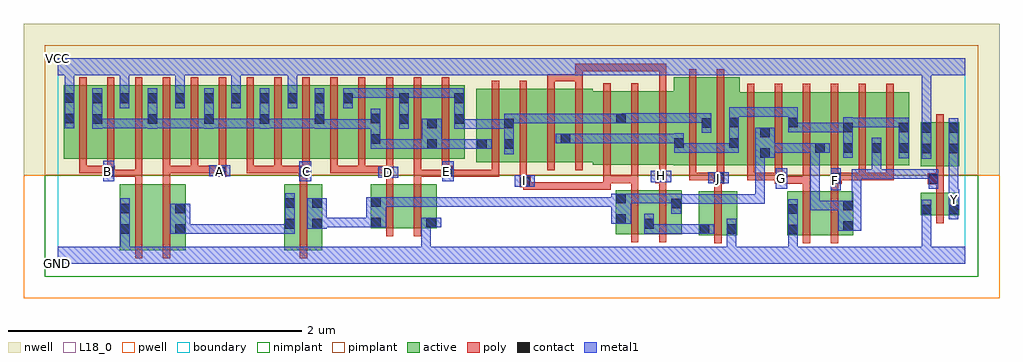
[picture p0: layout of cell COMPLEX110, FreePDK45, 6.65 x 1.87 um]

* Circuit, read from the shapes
.subckt COMPLEX110 A B C D E F G GND H I J VCC Y
M1 n1 B GND VSUBS nfet w=0.45u l=0.05u
M2 n2 A n1 VSUBS nfet w=0.45u l=0.05u
M3 n3 C n2 VSUBS nfet w=0.45u l=0.05u
M4 n4 D n3 VSUBS nfet w=0.3u l=0.05u
M5 GND E n4 VSUBS nfet w=0.3u l=0.05u
M6 n5 I n3 VSUBS nfet w=0.3u l=0.05u
M7 n3 H n5 VSUBS nfet w=0.3u l=0.05u
M8 GND J n5 VSUBS nfet w=0.3u l=0.05u
M9 n6 G GND VSUBS nfet w=0.3u l=0.05u
M10 n3 F n6 VSUBS nfet w=0.3u l=0.05u
M11 Y n3 GND VSUBS nfet w=0.15u l=0.05u
M12 n7 B VCC n8 pfet w=0.5u l=0.05u m=3
M13 VCC A n7 n8 pfet w=0.5u l=0.05u m=3
M14 n7 C VCC n8 pfet w=0.5u l=0.05u m=3
M15 n9 D n7 n8 pfet w=0.5u l=0.05u m=3
M16 n7 E n9 n8 pfet w=0.5u l=0.05u m=3
M17 n10 I n9 n8 pfet w=0.5u l=0.05u
M18 n11 H n10 n8 pfet w=0.5u l=0.05u
M19 n12 H n11 n8 pfet w=0.5u l=0.05u
M20 n9 I n12 n8 pfet w=0.5u l=0.05u
M21 n13 I n9 n8 pfet w=0.5u l=0.05u
M22 n11 H n13 n8 pfet w=0.5u l=0.05u
M23 n9 J n11 n8 pfet w=0.6u l=0.05u m=2
M24 n3 G n11 n8 pfet w=0.5u l=0.05u m=3
M25 n11 F n3 n8 pfet w=0.5u l=0.05u m=3
M26 Y n3 VCC n8 pfet w=0.3u l=0.05u
.ends

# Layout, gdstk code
import gdstk
lib = gdstk.Library(unit=1e-6, precision=1e-09)
def R(c, l, rs):  # rectangles x0, y0, x1, y1
    for r in rs: c.add(gdstk.rectangle(r[:2], r[2:], *l))
def A(c, l, x, y, w, h, nx, ny, dx, dy):  # array of equal rectangles
    R(c, l, [(x+i*dx, y+j*dy, x+i*dx+w, y+j*dy+h) for i in range(nx) for j in range(ny)])
active = (1, 0)
pwell = (2, 0)
nwell = (3, 0)
nimplant = (4, 0)
pimplant = (5, 0)
poly = (9, 0)
contact = (10, 0)
metal1 = (11, 0)
L18_0 = (18, 0)
boundary = (235, 0)

complex110 = lib.new_cell('COMPLEX110')
A(complex110, active, 0.415, 0.717, 0.075, 0.5, 3, 1, 0.38, 0)
R(complex110, active, [(0.42,0.092,0.645,0.542), (0.645,0.092,0.87,0.542), (1.542,0.092,1.802,0.542), (0.42,0.097,0.495,0.542), (0.795,0.097,0.87,0.542), (1.542,0.097,1.617,0.542), (1.727,0.097,1.802,0.542), (4.367,0.195,4.627,0.495), (4.552,0.195,4.627,0.495), (4.97,0.195,5.195,0.495), (4.97,0.195,5.045,0.495), (5.195,0.195,5.42,0.495), (3.8,0.2,3.875,0.5), (3.8,0.2,4.065,0.5), (3.99,0.2,4.25,0.5), (3.99,0.2,4.065,0.392), (4.367,0.2,4.442,0.495), (5.345,0.2,5.42,0.495), (2.13,0.242,2.355,0.542), (2.13,0.242,2.205,0.542), (2.355,0.242,2.58,0.542), (2.505,0.242,2.58,0.542), (4.175,0.247,4.25,0.5), (5.88,0.332,5.955,0.482), (5.88,0.332,6.14,0.482), (6.065,0.332,6.14,0.482), (5.88,0.665,5.955,0.965), (5.88,0.665,6.14,0.965), (6.065,0.665,6.14,0.962), (4.195,0.67,4.455,1.27), (4.38,0.67,4.645,1.27), (4.57,0.67,4.855,1.17), (4.57,0.67,4.645,1.2), (4.78,0.67,4.855,1.07), (4.78,0.67,5.045,1.17), (4.97,0.67,5.045,1.157), (4.97,0.67,5.23,1.17), (5.155,0.67,5.23,1.07), (5.155,0.67,5.42,1.17), (5.345,0.67,5.42,1.157), (5.345,0.67,5.615,1.17), (5.54,0.67,5.8,1.17), (5.54,0.67,5.615,1.07), (5.725,0.67,5.8,1.157), (3.645,0.675,3.875,1.175), (3.8,0.675,4.025,1.175), (3.8,0.675,3.875,1.175), (4.025,0.675,4.27,1.175), (4.195,0.675,4.27,1.07), (2.85,0.692,3.11,1.192), (2.85,0.692,2.925,1.07), (3.035,0.692,3.265,1.192), (3.035,0.692,3.11,1.165), (3.265,0.692,3.495,1.192), (3.42,0.692,3.645,1.192), (3.42,0.692,3.495,1.07), (4.38,0.707,4.455,1.2), (0.04,0.717,0.305,1.217), (0.04,0.717,0.115,1.217), (0.23,0.717,0.49,1.217), (0.23,0.717,0.305,1.2), (0.415,0.717,0.68,1.217), (0.605,0.717,0.87,1.217), (0.605,0.717,0.68,1.2), (0.795,0.717,1.065,1.217), (0.99,0.717,1.25,1.217), (0.99,0.717,1.065,1.2), (1.175,0.717,1.445,1.217), (1.37,0.717,1.635,1.217), (1.37,0.717,1.445,1.2), (1.56,0.717,1.82,1.217), (1.745,0.717,2.015,1.217), (1.745,0.717,1.82,1.2), (1.94,0.717,2.2,1.217), (1.94,0.717,2.015,1.2), (2.125,0.717,2.395,1.217), (2.125,0.717,2.2,1.07), (2.32,0.717,2.585,1.217), (2.32,0.717,2.395,1.2), (2.51,0.717,2.77,1.217), (2.51,0.717,2.585,1.07), (2.695,0.717,2.77,1.2), (1.56,0.807,1.635,1.217)])
R(complex110, pwell, [(-0.235,-0.235,6.415,0.602)])
R(complex110, nwell, [(-0.235,0.602,6.415,1.635)])
R(complex110, nimplant, [(-0.09,-0.09,6.27,0.602)])
R(complex110, pimplant, [(-0.09,0.602,6.27,1.49)])
A(complex110, poly, 3.715, 0.505, 0.05, 0.095, 3, 1, 0.19, 0)
A(complex110, poly, 5.265, 0.57, 0.05, 0.095, 3, 1, 0.19, 0)
A(complex110, poly, 4.695, 0.615, 0.05, 0.61, 6, 1, 0.19, 0)
A(complex110, poly, 0.715, 0.617, 0.05, 0.095, 9, 1, 0.19, 0)
A(complex110, poly, 0.715, 0.617, 0.24, 0.05, 3, 1, 0.57, 0)
A(complex110, poly, 3.715, 0.62, 0.05, 0.61, 3, 1, 0.19, 0)
A(complex110, poly, 2.955, 0.637, 0.05, 0.61, 4, 1, 0.19, 0)
A(complex110, poly, 0.145, 0.662, 0.05, 0.61, 14, 1, 0.19, 0)
R(complex110, poly, [(0.525,0.037,0.575,0.597), (0.715,0.037,0.765,0.597), (1.647,0.037,1.697,0.597), (4.472,0.14,4.522,0.55), (5.075,0.14,5.125,0.55), (5.265,0.14,5.315,0.55), (3.905,0.145,3.955,0.555), (4.095,0.145,4.145,0.555), (2.235,0.187,2.285,0.597), (2.425,0.187,2.475,0.597), (5.985,0.277,6.035,0.537), (5.985,0.487,6.035,0.59), (4.472,0.5,4.522,0.595), (5.075,0.5,5.125,0.595), (5.265,0.5,5.315,0.595), (3.17,0.505,3.442,0.555), (3.17,0.505,3.22,0.57), (3.392,0.505,3.442,0.555), (3.392,0.505,3.442,0.555), (3.392,0.505,3.442,0.555), (3.392,0.505,3.575,0.555), (3.525,0.505,3.575,0.555), (3.525,0.505,3.765,0.555), (3.145,0.52,3.22,0.595), (3.17,0.52,3.22,0.57), (5.927,0.54,6.035,0.615), (3.145,0.545,3.195,0.687), (4.465,0.545,4.54,0.62), (4.885,0.545,4.96,0.62), (4.91,0.545,5.125,0.595), (5.075,0.545,5.125,0.595), (5.075,0.545,5.125,0.595), (5.075,0.545,5.125,0.595), (5.075,0.545,5.125,0.665), (5.265,0.545,5.34,0.62), (0.525,0.547,0.575,0.642), (0.715,0.547,0.765,0.667), (1.647,0.547,1.697,0.642), (2.235,0.547,2.285,0.642), (2.425,0.547,2.475,0.642), (3.715,0.55,3.765,0.6), (3.715,0.55,3.765,0.6), (3.715,0.55,3.955,0.6), (3.715,0.55,3.765,0.67), (3.905,0.55,3.955,0.6), (3.905,0.55,3.955,0.6), (3.905,0.55,3.955,0.6), (3.905,0.55,3.955,0.67), (4.07,0.55,4.145,0.625), (5.985,0.565,6.035,0.66), (4.3,0.57,4.35,0.665), (4.3,0.57,4.35,0.62), (4.3,0.57,4.35,0.62), (4.3,0.57,4.35,0.62), (4.3,0.57,4.515,0.62), (4.49,0.57,4.54,0.665), (4.695,0.57,4.745,0.665), (4.695,0.57,4.745,0.62), (4.695,0.57,4.745,0.62), (4.695,0.57,4.745,0.62), (4.695,0.57,4.935,0.62), (4.885,0.57,4.935,0.665), (5.29,0.57,5.34,0.62), (5.29,0.57,5.34,0.62), (5.29,0.57,5.505,0.62), (5.455,0.57,5.505,0.62), (5.455,0.57,5.695,0.62), (5.645,0.57,5.695,0.62), (5.645,0.57,5.695,0.62), (5.645,0.57,5.695,0.62), (4.095,0.575,4.145,0.67), (0.312,0.592,0.387,0.667), (0.337,0.592,0.575,0.642), (0.525,0.592,0.575,0.642), (0.525,0.592,0.575,0.642), (0.525,0.592,0.575,0.642), (0.525,0.592,0.575,0.712), (1.07,0.592,1.145,0.667), (1.64,0.592,1.715,0.667), (2.212,0.592,2.287,0.667), (2.425,0.592,2.475,0.642), (2.425,0.592,2.475,0.642), (2.425,0.592,2.475,0.642), (2.425,0.592,2.665,0.642), (2.425,0.592,2.475,0.712), (2.615,0.592,2.69,0.667), (2.64,0.592,2.69,0.642), (2.64,0.592,2.69,0.642), (2.64,0.592,3.005,0.642), (2.955,0.592,3.005,0.687), (2.955,0.592,3.005,0.642), (2.955,0.592,3.005,0.642), (2.955,0.592,3.005,0.642), (5.985,0.61,6.035,1.02), (4.3,0.615,4.35,1.325), (4.49,0.615,4.54,1.325), (0.145,0.617,0.195,0.712), (0.145,0.617,0.195,0.667), (0.145,0.617,0.362,0.667), (0.312,0.617,0.362,0.667), (0.312,0.617,0.362,0.667), (0.335,0.617,0.385,0.712), (0.715,0.617,0.765,0.667), (0.905,0.617,0.955,0.667), (0.905,0.617,0.955,0.667), (0.905,0.617,0.955,0.667), (0.905,0.617,1.12,0.667), (1.07,0.617,1.12,0.667), (1.07,0.617,1.12,0.667), (1.285,0.617,1.335,0.667), (1.285,0.617,1.335,0.667), (1.285,0.617,1.335,0.667), (1.475,0.617,1.525,0.667), (1.475,0.617,1.525,0.667), (1.475,0.617,1.525,0.667), (1.475,0.617,1.69,0.667), (1.855,0.617,1.905,0.667), (1.855,0.617,1.905,0.667), (1.855,0.617,1.905,0.667), (2.045,0.617,2.095,0.667), (2.045,0.617,2.095,0.667), (2.045,0.617,2.095,0.667), (2.045,0.617,2.262,0.667), (2.615,0.617,2.665,0.712), (4.095,1.18,4.145,1.362), (3.335,1.197,3.385,1.292), (3.525,1.197,3.575,1.292), (3.335,1.242,3.385,1.292), (3.335,1.242,3.385,1.292), (3.335,1.242,3.385,1.292), (3.335,1.242,3.575,1.292), (3.525,1.242,3.575,1.362), (3.525,1.312,3.575,1.362), (3.525,1.312,3.575,1.362), (3.525,1.312,3.822,1.362), (3.772,1.312,3.822,1.362), (3.772,1.312,3.987,1.362), (3.937,1.312,3.987,1.362), (3.937,1.312,3.987,1.362), (3.937,1.312,3.987,1.362), (3.937,1.312,4.145,1.362), (4.095,1.312,4.145,1.362), (4.095,1.312,4.145,1.362), (4.095,1.312,4.145,1.362)])
A(complex110, contact, 0.42, 1.095, 0.065, 0.065, 3, 1, 0.19, 0)
R(complex110, contact, [(4.975,0.2,5.04,0.265), (0.425,0.205,0.49,0.27), (0.8,0.205,0.865,0.27), (4.372,0.205,4.437,0.27), (4.557,0.205,4.622,0.27), (5.35,0.225,5.415,0.29), (1.547,0.24,1.612,0.305), (1.732,0.24,1.797,0.305), (3.995,0.24,4.06,0.305), (2.135,0.247,2.2,0.312), (2.51,0.25,2.575,0.315), (3.805,0.272,3.87,0.337), (5.885,0.337,5.95,0.402), (6.07,0.337,6.135,0.402), (4.975,0.34,5.04,0.405), (0.425,0.345,0.49,0.41), (0.8,0.345,0.865,0.41), (5.35,0.365,5.415,0.43), (4.18,0.377,4.245,0.442), (1.547,0.38,1.612,0.445), (1.732,0.38,1.797,0.445), (2.135,0.387,2.2,0.452), (3.805,0.412,3.87,0.477), (3.15,0.525,3.215,0.59), (5.932,0.545,5.997,0.61), (4.47,0.55,4.535,0.615), (4.89,0.55,4.955,0.615), (5.27,0.55,5.335,0.615), (4.075,0.555,4.14,0.62), (0.317,0.597,0.382,0.662), (1.075,0.597,1.14,0.662), (1.645,0.597,1.71,0.662), (2.217,0.597,2.282,0.662), (2.62,0.597,2.685,0.662), (4.785,0.722,4.85,0.787), (5.885,0.752,5.95,0.817), (6.07,0.752,6.135,0.817), (5.73,0.755,5.795,0.82), (5.16,0.757,5.225,0.822), (5.35,0.757,5.415,0.822), (5.545,0.757,5.61,0.822), (2.515,0.782,2.58,0.847), (2.855,0.782,2.92,0.847), (3.04,0.782,3.105,0.847), (4.2,0.79,4.265,0.855), (4.575,0.79,4.64,0.855), (2.13,0.817,2.195,0.882), (3.425,0.82,3.49,0.885), (4.785,0.862,4.85,0.927), (5.885,0.892,5.95,0.957), (6.07,0.892,6.135,0.957), (5.73,0.895,5.795,0.96), (5.35,0.897,5.415,0.962), (2.515,0.922,2.58,0.987), (3.04,0.922,3.105,0.987), (4.385,0.927,4.45,0.992), (4.575,0.93,4.64,0.995), (4.975,0.93,5.04,0.995), (0.235,0.955,0.3,1.02), (0.61,0.955,0.675,1.02), (0.995,0.955,1.06,1.02), (1.375,0.955,1.44,1.02), (1.75,0.955,1.815,1.02), (2.325,0.955,2.39,1.02), (2.7,0.955,2.765,1.02), (0.045,0.957,0.11,1.022), (2.13,0.957,2.195,1.022), (3.805,0.957,3.87,1.022), (0.235,1.095,0.3,1.16), (0.995,1.095,1.06,1.16), (1.18,1.095,1.245,1.16), (1.375,1.095,1.44,1.16), (1.565,1.095,1.63,1.16), (1.75,1.095,1.815,1.16), (1.945,1.095,2.01,1.16), (2.325,1.095,2.39,1.16), (2.7,1.095,2.765,1.16), (0.045,1.097,0.11,1.162)])
A(complex110, metal1, 0.42, 1.06, 0.065, 0.135, 3, 1, 0.38, 0)
A(complex110, metal1, 0.42, 1.13, 0.065, 0.22, 3, 1, 0.38, 0)
R(complex110, metal1, [(0,0,6.18,0.115), (0.425,0.05,0.49,0.235), (2.475,0.05,2.54,0.115), (2.475,0.05,2.54,0.115), (2.475,0.05,2.54,0.315), (4.557,0.05,4.622,0.115), (4.557,0.05,4.622,0.235), (4.975,0.05,5.04,0.115), (4.975,0.05,5.04,0.23), (5.885,0.05,5.95,0.115), (5.885,0.05,5.95,0.115), (5.885,0.05,5.95,0.115), (5.885,0.05,5.95,0.115), (5.885,0.05,5.95,0.367), (4.975,0.165,5.04,0.44), (4.975,0.165,5.04,0.23), (0.425,0.17,0.49,0.445), (4.557,0.17,4.622,0.235), (4.557,0.17,4.622,0.305), (0.765,0.205,0.9,0.41), (0.835,0.205,0.9,0.27), (0.835,0.205,0.9,0.27), (0.835,0.205,1.037,0.27), (0.972,0.205,1.037,0.27), (0.972,0.205,1.037,0.27), (0.972,0.205,1.037,0.27), (0.972,0.205,1.302,0.27), (1.237,0.205,1.302,0.27), (1.237,0.205,1.302,0.27), (1.237,0.205,1.302,0.27), (1.237,0.205,1.44,0.27), (1.375,0.205,1.44,0.27), (1.375,0.205,1.44,0.27), (1.375,0.205,1.44,0.27), (1.375,0.205,1.612,0.27), (1.547,0.205,1.612,0.48), (3.995,0.205,4.06,0.27), (3.995,0.205,4.06,0.27), (3.995,0.205,4.06,0.34), (3.995,0.205,4.245,0.27), (4.18,0.205,4.245,0.27), (4.18,0.205,4.36,0.27), (4.295,0.205,4.36,0.27), (4.295,0.205,4.402,0.27), (4.337,0.205,4.472,0.27), (5.315,0.225,5.472,0.43), (1.697,0.24,1.832,0.445), (1.767,0.247,1.832,0.312), (1.767,0.247,1.832,0.312), (1.767,0.247,2.027,0.312), (1.962,0.247,2.027,0.312), (1.962,0.247,2.027,0.312), (1.962,0.247,2.027,0.312), (1.962,0.247,2.165,0.312), (2.1,0.247,2.235,0.452), (2.475,0.25,2.61,0.315), (3.77,0.272,3.905,0.477), (5.885,0.302,5.95,0.437), (6.07,0.302,6.135,0.437), (4.18,0.342,4.245,0.477), (5.125,0.365,5.19,0.43), (5.125,0.365,5.38,0.43), (5.125,0.365,5.19,0.822), (5.315,0.365,5.38,0.43), (5.315,0.365,5.38,0.43), (5.407,0.365,5.472,0.645), (6.07,0.372,6.135,0.437), (6.07,0.372,6.142,0.507), (2.17,0.387,2.235,0.452), (2.17,0.387,2.235,0.452), (2.17,0.387,2.235,0.452), (2.17,0.387,2.235,0.452), (2.17,0.387,2.402,0.452), (2.337,0.387,2.402,0.452), (2.337,0.387,2.402,0.452), (2.337,0.387,2.402,0.452), (2.337,0.387,2.54,0.452), (2.475,0.387,2.54,0.452), (2.475,0.387,2.54,0.452), (2.475,0.387,2.54,0.452), (2.475,0.387,2.902,0.452), (2.837,0.387,2.902,0.452), (2.837,0.387,2.902,0.452), (2.837,0.387,2.902,0.452), (2.837,0.387,3.04,0.452), (2.975,0.387,3.04,0.452), (2.975,0.387,3.04,0.452), (2.975,0.387,3.04,0.452), (2.975,0.387,3.242,0.452), (3.177,0.387,3.242,0.452), (3.177,0.387,3.242,0.452), (3.177,0.387,3.242,0.452), (3.177,0.387,3.387,0.452), (3.322,0.387,3.387,0.452), (3.322,0.387,3.387,0.452), (3.322,0.387,3.387,0.452), (3.322,0.387,3.525,0.452), (3.46,0.387,3.525,0.452), (3.46,0.387,3.662,0.452), (3.597,0.387,3.662,0.452), (3.597,0.387,3.767,0.452), (3.702,0.387,3.767,0.452), (3.702,0.387,3.835,0.452), (4.18,0.41,4.245,0.477), (4.18,0.41,4.402,0.475), (4.337,0.41,4.402,0.475), (4.337,0.41,4.54,0.475), (4.475,0.41,4.54,0.475), (4.475,0.41,4.54,0.475), (4.475,0.41,4.677,0.475), (4.612,0.41,4.677,0.475), (4.612,0.41,4.677,0.475), (4.612,0.41,4.815,0.475), (4.75,0.41,4.815,0.477), (3.84,0.412,3.922,0.477), (3.857,0.412,3.922,0.477), (3.857,0.412,4.107,0.477), (4.042,0.412,4.107,0.477), (4.042,0.412,4.107,0.477), (4.042,0.412,4.107,0.477), (4.042,0.412,4.245,0.477), (4.18,0.412,4.245,0.477), (4.18,0.412,4.245,0.477), (4.18,0.412,4.245,0.477), (4.75,0.412,4.815,0.477), (4.75,0.412,4.815,0.787), (6.07,0.442,6.135,0.782), (5.265,0.502,5.335,0.65), (5.932,0.51,5.997,0.645), (4.89,0.512,4.97,0.65), (3.112,0.525,3.25,0.602), (4.432,0.547,4.57,0.625), (4.04,0.555,4.177,0.632), (0.307,0.562,0.382,0.702), (1.645,0.562,1.725,0.697), (2.617,0.562,2.697,0.697), (5.407,0.58,5.472,0.645), (5.407,0.58,5.61,0.645), (5.545,0.58,5.61,0.645), (5.545,0.58,5.61,0.645), (5.545,0.58,5.61,0.645), (5.545,0.58,5.812,0.645), (5.545,0.58,5.61,0.787), (5.747,0.58,5.812,0.645), (5.747,0.58,5.812,0.645), (5.747,0.58,5.812,0.645), (5.747,0.58,5.997,0.645), (5.932,0.58,5.997,0.645), (5.932,0.58,5.997,0.645), (2.182,0.585,2.317,0.662), (1.032,0.597,1.175,0.67), (5.885,0.717,5.95,0.992), (6.07,0.717,6.135,0.992), (5.73,0.72,5.795,0.995), (4.75,0.722,4.815,0.787), (4.75,0.722,4.885,0.927), (5.35,0.722,5.415,0.997), (5.545,0.722,5.61,0.857), (3.04,0.747,3.105,1.022), (4.2,0.755,4.265,0.82), (4.2,0.755,4.265,0.82), (4.2,0.755,4.265,0.89), (4.2,0.755,4.402,0.82), (4.337,0.755,4.402,0.82), (4.337,0.755,4.54,0.82), (4.475,0.755,4.54,0.82), (4.475,0.755,4.64,0.82), (4.575,0.755,4.64,1.065), (4.82,0.757,4.955,0.822), (4.89,0.757,4.955,0.822), (4.89,0.757,5.052,0.822), (4.987,0.757,5.052,0.822), (4.987,0.757,5.19,0.822), (5.125,0.757,5.19,0.822), (5.125,0.757,5.19,0.822), (5.125,0.757,5.19,0.822), (5.125,0.757,5.19,0.822), (5.125,0.757,5.26,0.822), (2.13,0.782,2.195,1.057), (2.13,0.782,2.195,0.847), (2.13,0.782,2.195,0.847), (2.13,0.782,2.372,0.847), (2.307,0.782,2.372,0.847), (2.307,0.782,2.372,0.847), (2.307,0.782,2.372,0.847), (2.307,0.782,2.545,0.847), (2.48,0.782,2.615,0.987), (2.55,0.782,2.615,0.847), (2.55,0.782,2.615,0.847), (2.55,0.782,2.885,0.847), (2.82,0.782,2.885,0.847), (2.82,0.782,2.885,0.847), (2.82,0.782,2.955,0.847), (3.39,0.82,3.525,0.885), (3.46,0.82,3.525,0.885), (3.46,0.82,3.525,0.885), (3.46,0.82,3.662,0.885), (3.597,0.82,3.662,0.885), (3.597,0.82,3.767,0.885), (3.702,0.82,3.767,0.885), (3.702,0.82,3.835,0.885), (3.77,0.82,3.835,0.885), (3.77,0.82,3.922,0.885), (3.857,0.82,3.922,0.885), (3.857,0.82,4.06,0.885), (3.995,0.82,4.06,0.885), (3.995,0.82,4.06,0.885), (3.995,0.82,4.06,0.885), (3.995,0.82,4.265,0.885), (4.385,0.892,4.45,1.027), (4.975,0.895,5.19,0.96), (4.975,0.895,5.04,1.065), (5.125,0.895,5.19,0.96), (5.125,0.895,5.19,0.96), (5.125,0.895,5.19,0.96), (5.125,0.895,5.415,0.96), (5.35,0.895,5.415,0.96), (5.35,0.895,5.415,0.96), (0.235,0.92,0.302,1.195), (0.61,0.92,0.675,1.195), (0.995,0.92,1.06,1.195), (1.375,0.92,1.44,1.195), (1.75,0.92,1.815,1.195), (1.75,0.92,1.815,0.985), (1.75,0.92,1.815,0.985), (1.75,0.92,2.027,0.985), (1.962,0.92,2.027,0.985), (1.962,0.92,2.027,0.985), (1.962,0.92,2.027,0.985), (1.962,0.92,2.195,0.985), (2.325,0.92,2.39,1.195), (2.7,0.92,2.765,1.195), (2.7,0.92,2.765,0.985), (2.7,0.92,2.765,0.985), (2.7,0.92,3.04,0.985), (2.975,0.92,3.04,0.985), (2.975,0.92,3.105,0.985), (0.045,0.922,0.11,1.197), (0.237,0.922,0.302,0.987), (0.237,0.922,0.302,0.987), (0.237,0.922,0.537,0.987), (0.472,0.922,0.537,0.987), (0.472,0.922,0.537,0.987), (0.472,0.922,0.537,0.987), (0.472,0.922,0.675,0.987), (0.61,0.922,0.675,0.987), (0.61,0.922,0.675,0.987), (0.61,0.922,0.9,0.987), (0.835,0.922,0.9,0.987), (0.835,0.922,0.9,0.987), (0.835,0.922,0.9,0.987), (0.835,0.922,1.06,0.987), (0.995,0.922,1.06,0.987), (0.995,0.922,1.06,0.987), (0.995,0.922,1.302,0.987), (1.237,0.922,1.302,0.987), (1.237,0.922,1.302,0.987), (1.237,0.922,1.302,0.987), (1.237,0.922,1.44,0.987), (1.375,0.922,1.44,0.987), (1.375,0.922,1.44,0.987), (1.375,0.922,1.577,0.987), (1.512,0.922,1.577,0.987), (1.512,0.922,1.577,0.987), (1.512,0.922,1.577,0.987), (1.512,0.922,1.815,0.987), (5.885,0.927,5.95,1.35), (5.35,0.93,5.657,0.995), (5.592,0.93,5.657,0.995), (5.592,0.93,5.657,0.995), (5.592,0.93,5.657,0.995), (5.592,0.93,5.795,0.995), (5.73,0.93,5.795,0.995), (5.73,0.93,5.795,0.995), (3.04,0.957,3.25,1.022), (3.185,0.957,3.25,1.022), (3.185,0.957,3.25,1.022), (3.185,0.957,3.25,1.022), (3.185,0.957,3.387,1.022), (3.322,0.957,3.387,1.022), (3.322,0.957,3.387,1.022), (3.322,0.957,3.387,1.022), (3.322,0.957,3.525,1.022), (3.46,0.957,3.525,1.022), (3.46,0.957,3.697,1.022), (3.632,0.957,3.697,1.022), (3.632,0.957,3.767,1.022), (3.702,0.957,3.767,1.022), (3.702,0.957,3.835,1.022), (3.77,0.957,3.905,1.022), (3.84,0.957,3.905,1.022), (3.84,0.957,3.905,1.027), (3.84,0.962,4.06,1.027), (3.995,0.962,4.06,1.027), (3.995,0.962,4.06,1.027), (3.995,0.962,4.06,1.027), (3.995,0.962,4.265,1.027), (4.2,0.962,4.265,1.027), (4.2,0.962,4.265,1.027), (4.2,0.962,4.265,1.027), (4.2,0.962,4.45,1.027), (4.575,1,4.817,1.065), (4.752,1,4.817,1.065), (4.752,1,4.817,1.065), (4.752,1,4.817,1.065), (4.752,1,5.04,1.065), (4.975,1,5.04,1.065), (4.975,1,5.04,1.065), (1.565,1.06,1.63,1.195), (1.945,1.06,2.01,1.195), (0.8,1.13,0.865,1.195), (0.8,1.13,0.865,1.195), (1.565,1.13,1.63,1.195), (1.565,1.13,1.63,1.195), (1.565,1.13,1.63,1.35), (1.945,1.13,2.01,1.195), (1.945,1.13,2.01,1.195), (1.945,1.13,2.235,1.195), (2.17,1.13,2.235,1.195), (2.17,1.13,2.235,1.195), (2.17,1.13,2.235,1.195), (2.17,1.13,2.39,1.195), (2.325,1.13,2.39,1.195), (2.325,1.13,2.39,1.195), (2.325,1.13,2.54,1.195), (2.475,1.13,2.54,1.195), (2.475,1.13,2.54,1.195), (2.475,1.13,2.54,1.195), (2.475,1.13,2.765,1.195), (0.045,1.132,0.11,1.35), (0,1.285,6.18,1.4), (0.045,1.285,0.11,1.35), (0.045,1.285,0.11,1.35), (0.42,1.285,0.485,1.35), (0.42,1.285,0.485,1.35), (1.18,1.285,1.245,1.35), (1.18,1.285,1.245,1.35), (5.885,1.285,5.95,1.35), (5.885,1.285,5.95,1.35), (5.885,1.285,5.95,1.35), (5.885,1.285,5.95,1.35)])
A(complex110, L18_0, 0.42, 1.06, 0.065, 0.135, 3, 1, 0.38, 0)
A(complex110, L18_0, 0.42, 1.13, 0.065, 0.22, 3, 1, 0.38, 0)
R(complex110, L18_0, [(0,0,6.18,0.115), (0.425,0.05,0.49,0.235), (2.475,0.05,2.54,0.115), (2.475,0.05,2.54,0.115), (2.475,0.05,2.54,0.315), (4.557,0.05,4.622,0.115), (4.557,0.05,4.622,0.235), (4.975,0.05,5.04,0.115), (4.975,0.05,5.04,0.23), (5.885,0.05,5.95,0.115), (5.885,0.05,5.95,0.115), (5.885,0.05,5.95,0.115), (5.885,0.05,5.95,0.115), (5.885,0.05,5.95,0.367), (4.975,0.165,5.04,0.44), (4.975,0.165,5.04,0.23), (0.425,0.17,0.49,0.445), (4.557,0.17,4.622,0.235), (4.557,0.17,4.622,0.305), (2.475,0.25,2.61,0.315), (5.885,0.302,5.95,0.437), (6.07,0.302,6.135,0.437), (6.07,0.372,6.135,0.437), (6.07,0.372,6.142,0.507), (6.077,0.407,6.142,0.472), (6.07,0.442,6.135,0.782), (5.265,0.502,5.335,0.65), (4.89,0.512,4.97,0.65), (3.112,0.525,3.25,0.602), (3.147,0.537,3.212,0.602), (5.267,0.537,5.332,0.602), (4.432,0.547,4.57,0.625), (4.467,0.547,4.532,0.612), (4.897,0.547,4.962,0.612), (4.04,0.555,4.177,0.632), (0.307,0.562,0.382,0.702), (1.645,0.562,1.725,0.697), (2.617,0.562,2.697,0.697), (4.077,0.567,4.142,0.632), (2.182,0.585,2.317,0.662), (2.217,0.587,2.282,0.652), (0.307,0.597,0.372,0.662), (1.032,0.597,1.175,0.67), (1.067,0.597,1.132,0.662), (1.657,0.597,1.722,0.662), (2.617,0.597,2.682,0.662), (5.885,0.717,5.95,0.992), (6.07,0.717,6.135,0.992), (0.045,0.922,0.11,1.197), (5.885,0.927,5.95,1.35), (1.565,1.06,1.63,1.195), (0.8,1.13,0.865,1.195), (0.8,1.13,0.865,1.195), (1.565,1.13,1.63,1.195), (1.565,1.13,1.63,1.195), (1.565,1.13,1.63,1.35), (0.045,1.132,0.11,1.35), (0,1.285,6.18,1.4), (0.045,1.285,0.11,1.35), (0.045,1.285,0.11,1.35), (0.42,1.285,0.485,1.35), (0.42,1.285,0.485,1.35), (1.18,1.285,1.245,1.35), (1.18,1.285,1.245,1.35), (5.885,1.285,5.95,1.35), (5.885,1.285,5.95,1.35), (5.885,1.285,5.95,1.35), (5.885,1.285,5.95,1.35)])
R(complex110, boundary, [(0,0,6.18,1.4)])
complex110.add(gdstk.Label('A', (1.1,0.63), layer=11, texttype=0))
complex110.add(gdstk.Label('B', (0.34,0.63), layer=11, texttype=0))
complex110.add(gdstk.Label('C', (1.69,0.63), layer=11, texttype=0))
complex110.add(gdstk.Label('D', (2.25,0.62), layer=11, texttype=0))
complex110.add(gdstk.Label('E', (2.65,0.63), layer=11, texttype=0))
complex110.add(gdstk.Label('F', (5.3,0.57), layer=11, texttype=0))
complex110.add(gdstk.Label('G', (4.93,0.58), layer=11, texttype=0))
complex110.add(gdstk.Label('H', (4.11,0.6), layer=11, texttype=0))
complex110.add(gdstk.Label('I', (3.18,0.57), layer=11, texttype=0))
complex110.add(gdstk.Label('J', (4.5,0.58), layer=11, texttype=0))
complex110.add(gdstk.Label('Y', (6.11,0.44), layer=11, texttype=0))
complex110.add(gdstk.Label('VCC', (0,1.4), layer=11, texttype=0))
complex110.add(gdstk.Label('GND', (0,0), layer=11, texttype=0))

lib.write_gds('COMPLEX110.gds')
